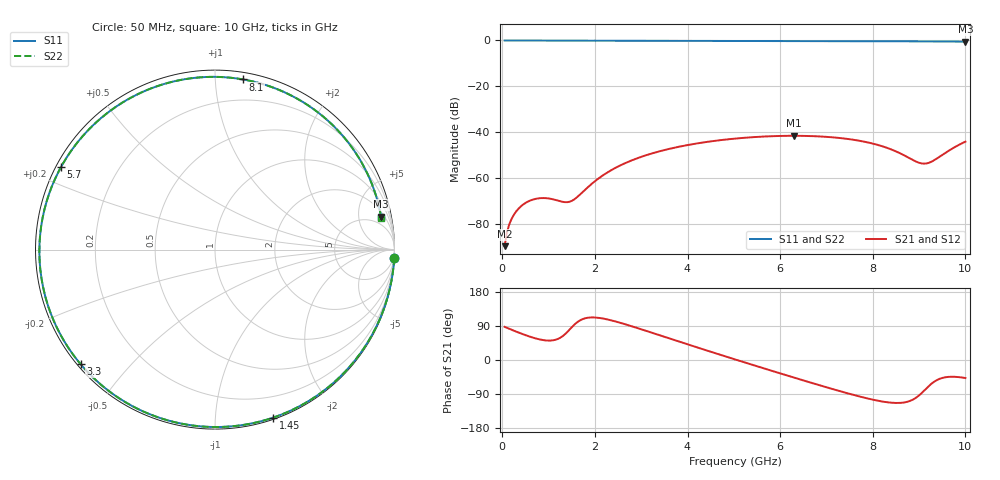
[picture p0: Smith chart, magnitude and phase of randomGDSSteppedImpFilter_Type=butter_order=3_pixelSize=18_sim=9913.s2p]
! freq	dB(S11)	phase(S11)	dB(S12)	phase(S12)
!  dB(S21)	phase(S21)	dB(S22)	phase(S22)
!S-par simulation data
#  GHz  S  DB  R 50
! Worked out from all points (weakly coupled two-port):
!   200 points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, 50 MHz to 10 GHz, reference 50 ohm
!   highest |S21| = -41.50 dB at 6.3 GHz (marker M1); lowest = -89.5 dB at 50 MHz (marker M2)
!   lowest |S11| = -0.5 dB at 10 GHz (marker M3), VSWR 34.15, Z = 139 + j465 ohm
!   |S11| at or under -10 dB: nowhere
!   |S22| runs from -0.5 to 0.0 dB; largest |S21 - S12| = 0
!   S11 on the Smith chart (normalised r, x): 50 MHz: 0, -44; 1.45 GHz: 0.01, -1.41; 3.3 GHz: 0.01, -0.37; 5.7 GHz: 0.01, +0.25; 8.1 GHz: 0.05, +1.18; 10 GHz: 2.79, +9.30
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0.05  -0.00 -2.6  -89.55 87.5  -89.55 87.5  -0.00 -2.6
0.15  -0.01 -7.8  -80.10 82.4  -80.10 82.4  -0.01 -7.8
0.25  -0.02 -12.9  -75.85 77.4  -75.85 77.4  -0.02 -12.9
0.35  -0.03 -18.0  -73.22 72.5  -73.22 72.5  -0.03 -18.0
0.65  -0.04 -33.2  -69.34 59.5  -69.34 59.5  -0.04 -33.2
0.95  -0.06 -47.8  -68.66 51.6  -68.66 51.6  -0.06 -47.8
1.45  -0.08 -70.8  -70.22 79.9  -70.22 79.9  -0.08 -70.8
1.75  -0.09 -83.6  -65.73 108.6  -65.73 108.6  -0.09 -83.7
2.4  -0.12 -109.0  -55.93 103.2  -55.93 103.2  -0.12 -109.1
3.3  -0.14 -139.6  -48.78 69.2  -48.78 69.2  -0.14 -139.6
3.4  -0.14 -142.7  -48.23 65.2  -48.23 65.2  -0.14 -142.8
4.2  -0.17 -166.5  -44.84 33.5  -44.84 33.5  -0.17 -166.6
5.05  -0.20 169.7  -42.68 0.6  -42.68 0.6  -0.20 169.6
5.7  -0.23 151.8  -41.78 -24.0  -41.78 -24.0  -0.23 151.7
6.3  -0.26 135.1  -41.50 -46.5  -41.50 -46.5  -0.26 135.0
6.7  -0.28 123.7  -41.65 -61.2  -41.65 -61.2  -0.28 123.5
7.45  -0.32 101.3  -42.85 -87.7  -42.85 -87.7  -0.32 101.1
8.1  -0.35 80.6  -45.43 -107.2  -45.43 -107.2  -0.35 80.3
8.35  -0.36 72.2  -47.06 -112.1  -47.06 -112.1  -0.36 71.9
8.95  -0.40 51.2  -52.85 -98.2  -52.85 -98.2  -0.40 50.8
9.15  -0.41 43.9  -53.56 -75.9  -53.56 -75.9  -0.41 43.5
10  -0.51 11.3  -44.06 -47.6  -44.06 -47.6  -0.51 10.8
